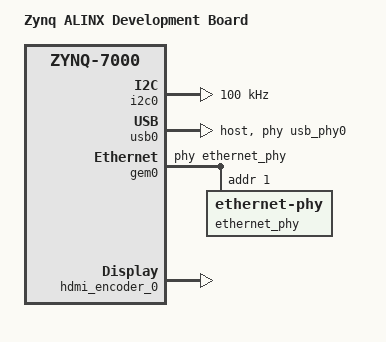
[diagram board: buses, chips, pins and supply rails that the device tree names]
/include/ "system-conf.dtsi"
/ {
	model = "Zynq ALINX Development Board";
	compatible = "alinx,zynq", "xlnx,zynq-7000";

	aliases {
		ethernet0 = "&gem0";
		serial0 = "&uart1";
	};

	usb_phy0: usb_phy@0 {
		compatible = "ulpi-phy";
		#phy-cells = <0>;
		reg = <0xe0002000 0x1000>;
		view-port = <0x0170>;
		drv-vbus;
	};

	alinxled {
		compatible = "alinxled";
		reg = <
			   0xE000A204 0x04    /* gpio方向寄存器 */
			   0xE000A208 0x04    /* gpio使能寄存器 */
			   0xE000A040 0x04    /* gpio控制寄存器 */
			   0xF800012C 0x04    /* AMBA外设时钟使能寄存器 */
		>;
	};

};

&i2c0 {
	clock-frequency = <100000>;
};

&usb0 {
	dr_mode = "host";
	usb-phy = <&usb_phy0>;
};

&sdhci0 {
	u-boot,dm-pre-reloc;
};

&uart1 {
	u-boot,dm-pre-reloc;
};

&flash0 {
	compatible = "micron,m25p80", "w25q256", "spi-flash";
};

&gem0 {
	phy-handle = <&ethernet_phy>;
	ethernet_phy: ethernet-phy@1 {
		reg = <1>;
		device_type = "ethernet-phy";
	};
};

&amba_pl {
	hdmi_encoder_0:hdmi_encoder {
		compatible = "digilent,drm-encoder";
		digilent,edid-i2c = <&i2c0>;
	};

	xilinx_drm {
		compatible = "xlnx,drm";
		xlnx,vtc = <&v_tc_0>;
		xlnx,connector-type = "HDMIA";
		xlnx,encoder-slave = <&hdmi_encoder_0>;
		clocks = <&axi_dynclk_0>;
		dglnt,edid-i2c = <&i2c0>;
		planes {
			xlnx,pixel-format = "rgb888";
			plane0 {
				dmas = <&axi_vdma_0 0>;
				dma-names = "dma";
			};
		};
	};
};

&axi_dynclk_0 {
	compatible = "digilent,axi-dynclk";
	#clock-cells = <0>;
	clocks = <&clkc 15>;
};

&v_tc_0 {
	compatible = "xlnx,v-tc-5.01.a";
};
